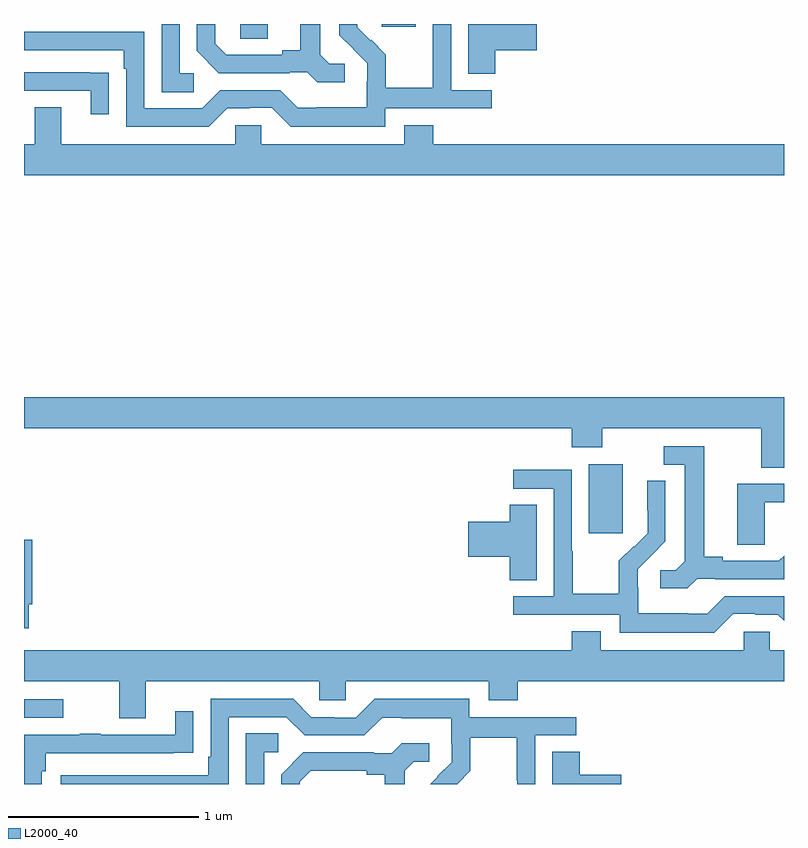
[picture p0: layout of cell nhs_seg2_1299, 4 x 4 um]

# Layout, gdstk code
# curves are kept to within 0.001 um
import gdstk
lib = gdstk.Library(unit=1e-6, precision=1e-09)
def R(c, l, rs):  # rectangles x0, y0, x1, y1
    for r in rs: c.add(gdstk.rectangle(r[:2], r[2:], *l))
def P(c, l, *ps):  # polygons
    for p in ps: c.add(gdstk.Polygon(p, *l))
L2000_40 = (2000, 40)

nhs_seg2_1299 = lib.new_cell('nhs_seg2_1299')
R(nhs_seg2_1299, L2000_40, [(179,610.149,179.206,610.245), (181.973,611.121,182.152,611.482), (180.138,613.723,180.283,613.8), (180.884,613.785,181.063,613.8)])
P(nhs_seg2_1299, L2000_40, [(180.688,613.59),(180.606,613.59),(180.559,613.637),(180.559,613.8),(180.455,613.8),(180.455,613.661),(180.359,613.661),(180.359,613.638),(180.064,613.638),(180.007,613.695),(180.007,613.8),(179.91,613.8),(179.91,613.658),(180.026,613.542),(180.398,613.542),(180.398,613.545),(180.492,613.545),(180.544,613.493),(180.688,613.493)],
  [(179.893,613.542),(179.82,613.542),(179.82,613.8),(179.724,613.8),(179.724,613.441),(179.893,613.441)],
  [(181.481,613.661),(181.699,613.661),(181.699,613.8),(181.337,613.8),(181.337,613.537),(181.481,613.537)],
  [(180.9,613.356),(181.462,613.356),(181.462,613.452),(181.248,613.452),(181.248,613.8),(181.152,613.8),(181.152,613.688),(181.15,613.688),(181.15,613.465),(180.905,613.465),(180.905,613.639),(180.828,613.716),(180.825,613.713),(180.755,613.784),(180.755,613.8),(180.66,613.8),(180.66,613.742),(180.806,613.594),(180.806,613.497),(180.804,613.497),(180.804,613.363),(180.541,613.363),(180.541,613.359),(180.441,613.359),(180.348,613.452),(180.033,613.452),(179.937,613.356),(179.634,613.356),(179.634,613.758),(179,613.758),(179,613.662),(179.525,613.662),(179.525,613.565),(179.538,613.565),(179.538,613.26),(179.973,613.26),(180.069,613.356),(180.188,613.356),(180.188,613.359),(180.303,613.359),(180.403,613.259),(180.9,613.259)],
  [(179.447,613.544),(179.345,613.544),(179.345,613.545),(179,613.545),(179,613.449),(179.351,613.449),(179.351,613.326),(179.447,613.326)],
  [(183,613.168),(181.154,613.168),(181.154,613.267),(181.001,613.267),(181.001,613.168),(180.249,613.168),(180.249,613.266),(180.111,613.266),(180.111,613.168),(179.197,613.168),(179.197,613.363),(179.057,613.363),(179.057,613.168),(179,613.168),(179,613.004),(183,613.004)],
  [(183,611.836),(179,611.836),(179,611.672),(181.883,611.672),(181.883,611.573),(182.043,611.573),(182.043,611.672),(182.879,611.672),(182.879,611.464),(183,611.464)],
  [(182.544,610.881),(182.638,610.881),(182.638,610.878),(183,610.878),(183,611.002),(182.972,610.974),(182.677,610.974),(182.677,610.997),(182.581,610.997),(182.581,611.577),(182.367,611.577),(182.367,611.481),(182.477,611.481),(182.477,610.973),(182.43,610.926),(182.349,610.926),(182.349,610.829),(182.492,610.829)],
  [(182.733,610.695),(182.849,610.695),(182.849,610.692),(182.967,610.692),(183,610.659),(183,610.788),(182.688,610.788),(182.595,610.695),(182.495,610.695),(182.495,610.699),(182.232,610.699),(182.232,610.833),(182.23,610.833),(182.23,610.93),(182.376,611.078),(182.376,611.396),(182.28,611.396),(182.28,611.242),(182.282,611.242),(182.282,611.12),(182.211,611.049),(182.208,611.052),(182.131,610.975),(182.131,610.801),(181.887,610.801),(181.887,611.024),(181.884,611.024),(181.884,611.454),(181.575,611.454),(181.575,611.355),(181.788,611.355),(181.788,610.788),(181.575,610.788),(181.575,610.692),(182.136,610.692),(182.136,610.595),(182.633,610.595)],
  [(182.898,611.283),(183,611.283),(183,611.379),(182.753,611.379),(182.753,611.059),(182.898,611.059)],
  [(181.699,611.27),(181.556,611.27),(181.556,611.18),(181.338,611.18),(181.338,610.997),(181.556,610.997),(181.556,610.873),(181.699,610.873)],
  [(179.026,610.746),(179.044,610.746),(179.044,611.086),(179,611.086),(179,610.619),(179.026,610.619)],
  [(179.641,610.34),(180.555,610.34),(180.555,610.242),(180.693,610.242),(180.693,610.34),(181.445,610.34),(181.445,610.241),(181.598,610.241),(181.598,610.34),(183,610.34),(183,610.504),(182.925,610.504),(182.925,610.602),(182.787,610.602),(182.787,610.504),(182.035,610.504),(182.035,610.603),(181.883,610.603),(181.883,610.504),(179,610.504),(179,610.34),(179.501,610.34),(179.501,610.146),(179.641,610.146)],
  [(180.078,610.152),(180.381,610.152),(180.477,610.056),(180.792,610.056),(180.885,610.149),(180.985,610.149),(180.985,610.145),(181.248,610.145),(181.248,610.011),(181.25,610.011),(181.25,609.914),(181.138,609.8),(181.28,609.8),(181.349,609.869),(181.349,610.044),(181.594,610.044),(181.594,609.82),(181.596,609.82),(181.596,609.8),(181.692,609.8),(181.692,610.056),(181.906,610.056),(181.906,610.152),(181.344,610.152),(181.344,610.249),(180.847,610.249),(180.747,610.149),(180.632,610.149),(180.632,610.152),(180.513,610.152),(180.417,610.248),(179.982,610.248),(179.982,609.943),(179.969,609.943),(179.969,609.846),(179.193,609.846),(179.193,609.8),(180.078,609.8)],
  [(179.094,609.866),(179.114,609.866),(179.114,609.963),(179.789,609.963),(179.789,609.964),(179.891,609.964),(179.891,610.183),(179.795,610.183),(179.795,610.059),(179.405,610.059),(179.405,610.064),(179.293,610.064),(179.293,610.059),(179,610.059),(179,609.8),(179.094,609.8)],
  [(180.264,609.966),(180.337,609.966),(180.337,610.067),(180.168,610.067),(180.168,609.8),(180.264,609.8)],
  [(180.451,609.813),(180.508,609.87),(180.803,609.87),(180.803,609.848),(180.899,609.848),(180.899,609.8),(181.003,609.8),(181.003,609.871),(181.05,609.918),(181.132,609.918),(181.132,610.015),(180.988,610.015),(180.936,609.963),(180.842,609.963),(180.842,609.966),(180.47,609.966),(180.354,609.85),(180.354,609.8),(180.451,609.8)],
  [(182.143,609.848),(181.925,609.848),(181.925,609.971),(181.781,609.971),(181.781,609.8),(182.143,609.8)])

lib.write_gds('nhs_seg2_1299.gds')
